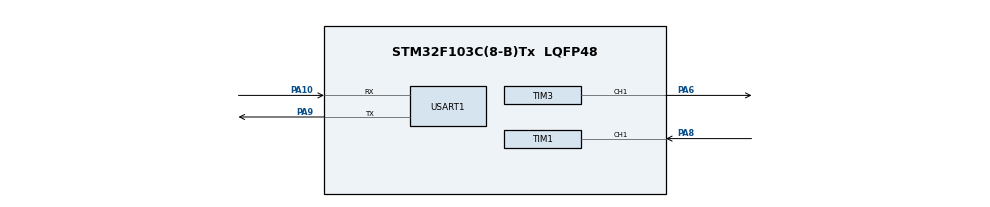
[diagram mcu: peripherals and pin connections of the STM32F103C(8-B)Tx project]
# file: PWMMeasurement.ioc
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Mcu.Family=STM32F1
Mcu.Name=STM32F103C(8-B)Tx
Mcu.Package=LQFP48
NVIC.PriorityGroup=NVIC_PRIORITYGROUP_4
PA10.Mode=Asynchronous
PA10.Signal=USART1_RX
PA13.Mode=Serial_Wire
PA13.Signal=SYS_JTMS-SWDIO
PA14.Mode=Serial_Wire
PA14.Signal=SYS_JTCK-SWCLK
PA6.Signal=S_TIM3_CH1
PA8.Signal=S_TIM1_CH1
PA9.Mode=Asynchronous
PA9.Signal=USART1_TX
ProjectManager.HeapSize=0x200
ProjectManager.StackSize=0x400
ProjectManager.TargetToolchain=MDK-ARM V5.32
RCC.APB1Freq_Value=8000000
RCC.APB2Freq_Value=8000000
SH.S_TIM1_CH1.0=TIM1_CH1,Input_Capture1_from_TI1
SH.S_TIM1_CH1.1=TIM1_CH1,TriggerSource_TI1FP1
SH.S_TIM3_CH1.0=TIM3_CH1,PWM Generation1 CH1
TIM1.AutoReloadPreload=TIM_AUTORELOAD_PRELOAD_ENABLE
TIM1.Channel-Input_Capture1_from_TI1=TIM_CHANNEL_1
TIM1.Channel-Input_Capture2_from_TI1_63=TIM_CHANNEL_2
TIM1.ICPolarity_CH2=TIM_INPUTCHANNELPOLARITY_FALLING
TIM1.Prescaler=7
TIM3.AutoReloadPreload=TIM_AUTORELOAD_PRELOAD_ENABLE
TIM3.Channel-PWM\ Generation1\ CH1=TIM_CHANNEL_1
TIM3.Period=999
TIM3.Prescaler=7
TIM3.Pulse-PWM\ Generation1\ CH1=200
USART1.VirtualMode=VM_ASYNC
VP_TIM1_VS_ClockSourceINT.Mode=Internal
VP_TIM1_VS_ControllerModeReset.Mode=Reset Mode
VP_TIM1_VS_indirect_ch1.Mode=Input_Capture2_from_TI1_63
VP_TIM3_VS_ClockSourceINT.Mode=Internal
board=custom

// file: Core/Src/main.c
/* USER CODE BEGIN Header */
/**
  ******************************************************************************
  * @file           : main.c
  * @brief          : Main program body
  ******************************************************************************
  * @attention
  *
  * Copyright (c) 2026 STMicroelectronics.
  * All rights reserved.
  *
  * This software is licensed under terms that can be found in the LICENSE file
  * in the root directory of this software component.
  * If no LICENSE file comes with this software, it is provided AS-IS.
  *
  ******************************************************************************
  */
/* USER CODE END Header */
#include "main.h"
#include "tim.h"
#include "usart.h"
#include "gpio.h"

void SystemClock_Config(void);

/* USER CODE BEGIN 0 */
#include <stdarg.h>
#include <stdio.h>
#include <string.h>
static void UART_Printf(const char*format,...)
{
	char tmp[128];
	va_list argptr;
	va_start (argptr, format);
	vsprintf ((char *)tmp, format,argptr);
	va_end(argptr);
	HAL_UART_Transmit (&huart1,(const uint8_t *)&tmp, strlen (tmp), HAL_MAX_DELAY);
}

/* USER CODE END 0 */

int main(void)
{

  /* MCU Configuration--------------------------------------------------------*/

  /* Reset of all peripherals, Initializes the Flash interface and the Systick. */
  HAL_Init();

  /* Configure the system clock */
  SystemClock_Config();

  /* Initialize all configured peripherals */
  MX_GPIO_Init();
  MX_USART1_UART_Init();
  MX_TIM3_Init();
  MX_TIM1_Init();
  /* USER CODE BEGIN 2 */
	//HAL_UART_Transmit(&huart1, (const uint8_t *)"你好世界 ", 12, HAL_MAX_DELAY);
  HAL_TIM_PWM_Start(&htim3, TIM_CHANNEL_1);
  /* USER CODE END 2 */

  /* Infinite loop */
  /* USER CODE BEGIN WHILE */
  while (1)
  {
		//1.清除cc1标志�?
		__HAL_TIM_CLEAR_FLAG(&htim1, TIM_FLAG_CC1);

		//2.启动定时�?
		HAL_TIM_IC_Start(&htim1, TIM_CHANNEL_1);
		HAL_TIM_IC_Start(&htim1, TIM_CHANNEL_2);

		//3.等待cc1标志位，并再次清楚它
		while(__HAL_TIM_GET_FLAG(&htim1, TIM_FLAG_CC1) == 0);
		__HAL_TIM_CLEAR_FLAG(&htim1, TIM_FLAG_CC1);

		//4.再次等待cc1标志�?
		while(__HAL_TIM_GET_FLAG(&htim1, TIM_FLAG_CC1) == 0);

		//5.关闭定时�?
		HAL_TIM_IC_Stop(&htim1, TIM_CHANNEL_1);
		HAL_TIM_IC_Stop(&htim1, TIM_CHANNEL_2);

		//6.计算测量结果
		uint16_t ccr1 = __HAL_TIM_GET_COMPARE(&htim1, TIM_CHANNEL_1);
		uint16_t ccr2 = __HAL_TIM_GET_COMPARE(&htim1, TIM_CHANNEL_2);

		float period = ccr1 * 1e-6;
		float pulseWidth = ccr2 * 1e-6;
		float duty = pulseWidth / period;

		UART_Printf("脉宽 = %.1fus, 周期 = %.1fus, 占空�? = %.1f%%",pulseWidth*1e6f, period*1e6f, duty*100);

	  HAL_Delay(500);

    /* USER CODE END WHILE */

  }
}

void SystemClock_Config(void)
{
  RCC_OscInitTypeDef RCC_OscInitStruct = {0};
  RCC_ClkInitTypeDef RCC_ClkInitStruct = {0};

  /** Initializes the RCC Oscillators according to the specified parameters
  * in the RCC_OscInitTypeDef structure.
  */
  RCC_OscInitStruct.OscillatorType = RCC_OSCILLATORTYPE_HSI;
  RCC_OscInitStruct.HSIState = RCC_HSI_ON;
  RCC_OscInitStruct.HSICalibrationValue = RCC_HSICALIBRATION_DEFAULT;
  RCC_OscInitStruct.PLL.PLLState = RCC_PLL_NONE;
  if (HAL_RCC_OscConfig(&RCC_OscInitStruct) != HAL_OK)
  {
    Error_Handler();
  }

  /** Initializes the CPU, AHB and APB buses clocks
  */
  RCC_ClkInitStruct.ClockType = RCC_CLOCKTYPE_HCLK|RCC_CLOCKTYPE_SYSCLK
                              |RCC_CLOCKTYPE_PCLK1|RCC_CLOCKTYPE_PCLK2;
  RCC_ClkInitStruct.SYSCLKSource = RCC_SYSCLKSOURCE_HSI;
  RCC_ClkInitStruct.AHBCLKDivider = RCC_SYSCLK_DIV1;
  RCC_ClkInitStruct.APB1CLKDivider = RCC_HCLK_DIV1;
  RCC_ClkInitStruct.APB2CLKDivider = RCC_HCLK_DIV1;

  if (HAL_RCC_ClockConfig(&RCC_ClkInitStruct, FLASH_LATENCY_0) != HAL_OK)
  {
    Error_Handler();
  }
}

void Error_Handler(void)
{
  __disable_irq();
  while (1)
  {
  }
}
